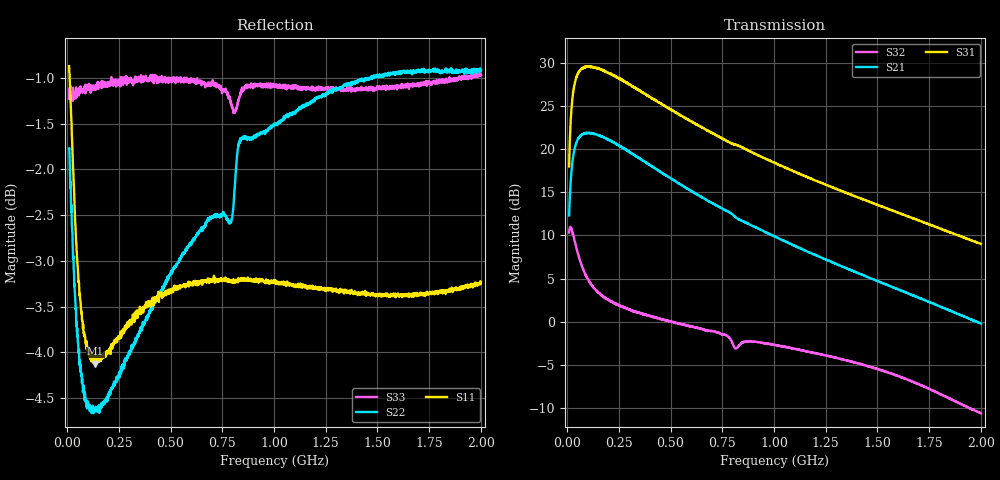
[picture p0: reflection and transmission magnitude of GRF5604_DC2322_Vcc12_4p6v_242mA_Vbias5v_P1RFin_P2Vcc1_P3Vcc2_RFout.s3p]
!Keysight Technologies,N5244B,MY57181157,A.18.40.03
!Date: Wednesday, September 10, 2025 10:43:51
!Correction: S11(C  3-Port  )
!S12(C  3-Port  )
!S13(C  3-Port  )
!S21(C  3-Port  )
!S22(C  3-Port  )
!S23(C  3-Port  )
!S31(C  3-Port  )
!S32(C  3-Port  )
!S33(C  3-Port  )
!S3P File: Measurements: <S11,S12,S13>,
!<S21,S22,S23>,
!<S31,S32,S33>:
# Hz S  RI  R 50
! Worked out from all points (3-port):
!   1991 points, 10 MHz to 2 GHz, reference 50 ohm
!   strongest paths, dB at 10 MHz, 507 MHz, 1.005 GHz, 1.503 GHz, 2 GHz:
!     S31: 18.0, 24.5, 18.4, 13.5, 9.0
!     S21: 12.3, 16.5, 9.9, 4.7, -0.2
!     S32: 10.3, 0.0, -2.7, -5.5, -10.6
!   lowest |S11| = -4.1 dB at 136 MHz (marker M1), VSWR 4.29, Z = 41 - j71.4 ohm
!   |S11| at or under -10 dB: nowhere
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1e7  0.8893 -0.1661  0.041 -0.0116  0.000329 -0.000496
     -1.755 -3.736  0.7129 -0.3962  0.0046 -0.0094
     -1.419 7.793  -3.057 -1.204  -0.2702 -0.8254
3e7  0.7194 -0.3348  0.0272 -0.0187  0.00021 -0.000346
     -7.103 -5.689  0.2252 -0.6758  0.00121 0.000308
     13.2 16.71  -3.03 0.9511  -0.7714 -0.4059
6e7  0.5421 -0.407  0.0145 -0.016  2.96e-05 0.000414
     -11.36 -2.744  -0.1995 -0.5882  0.00346 0.00294
     26.54 9.566  -1.933 1.274  -0.8507 -0.2212
9.2e7  0.4371 -0.4643  0.0097 -0.011  5.24e-05 -0.000142
       -12.35 0.5264  -0.3674 -0.4654  0.00429 0.00378
       29.8 0.6822  -1.458 1.122  -0.8631 -0.1548
1.36e8  0.3196 -0.5338  0.00819 -0.00742  6.94e-05 0.000126
        -11.55 3.778  -0.4608 -0.362  0.00631 0.00458
        28.4 -8.308  -1.194 0.9816  -0.8761 -0.1102
2.69e8  -0.00379 -0.6464  0.00781 -0.00239  -0.000281 0.000283
        -6.573 7.75  -0.5732 -0.2371  0.00877 0.0052
        15.82 -19.25  -0.8662 0.8631  -0.8887 -0.0639
4.91e8  -0.344 -0.5879  0.00919 -0.000776  -0.000155 0.000603
        -0.9542 6.802  -0.6759 -0.1507  0.0111 0.00444
        1.105 -17.22  -0.546 0.8531  -0.8906 -0.0476
7.02e8  -0.4914 -0.4844  0.00965 -0.00043  -0.000504 0.00129
        1.037 4.745  -0.7441 -0.0874  0.0121 0.00632
        -4.156 -11.59  -0.2858 0.8372  -0.8832 -0.0334
1.005e9  -0.5918 -0.3572  0.00895 -0.00101  -0.000606 0.002
         1.71 2.609  -0.8409 -0.00333  0.00887 0.00196
         -5.997 -5.765  -0.0366 0.7353  -0.883 -0.0237
2e9  -0.6873 0.0466  0.0082 0.00207  0.000495 0.00477
     0.963 0.1663  -0.8067 0.3989  0.00989 0.00998
     -2.662 0.9477  0.2278 0.189  -0.8834 0.1419
